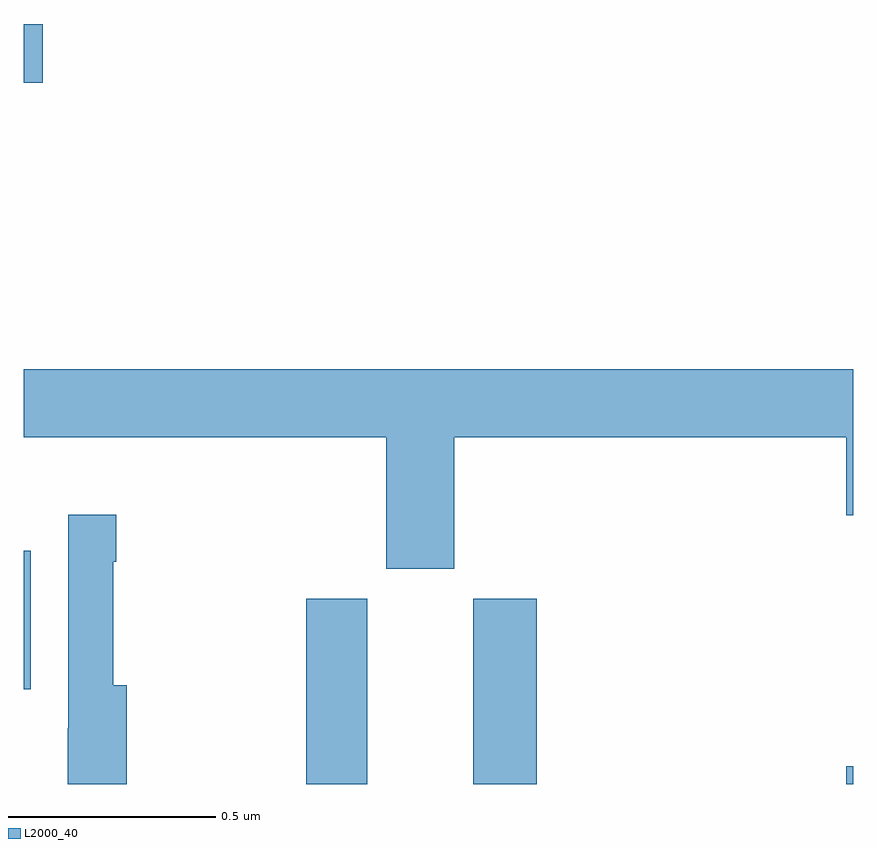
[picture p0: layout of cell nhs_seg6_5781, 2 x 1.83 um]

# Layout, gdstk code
import gdstk
lib = gdstk.Library(unit=1e-6, precision=1e-09)
def R(c, l, rs):  # rectangles x0, y0, x1, y1
    for r in rs: c.add(gdstk.rectangle(r[:2], r[2:], *l))
def P(c, l, *ps):  # polygons
    for p in ps: c.add(gdstk.Polygon(p, *l))
L2000_40 = (2000, 40)

nhs_seg6_5781 = lib.new_cell('nhs_seg6_5781')
R(nhs_seg6_5781, L2000_40, [(187.681,946.5,187.828,946.947), (188.084,946.5,188.237,946.947), (188.984,946.5,189,946.543), (187,946.728,187.017,947.062), (187,948.191,187.045,948.333)])
P(nhs_seg6_5781, L2000_40, [(188.038,947.336),(188.984,947.336),(188.984,947.148),(189,947.148),(189,947.5),(187,947.5),(187,947.336),(187.874,947.336),(187.874,947.019),(188.038,947.019)],
  [(187.248,946.738),(187.216,946.738),(187.216,947.036),(187.223,947.036),(187.223,947.149),(187.107,947.149),(187.107,946.634),(187.106,946.634),(187.106,946.5),(187.248,946.5)])

lib.write_gds('nhs_seg6_5781.gds')
